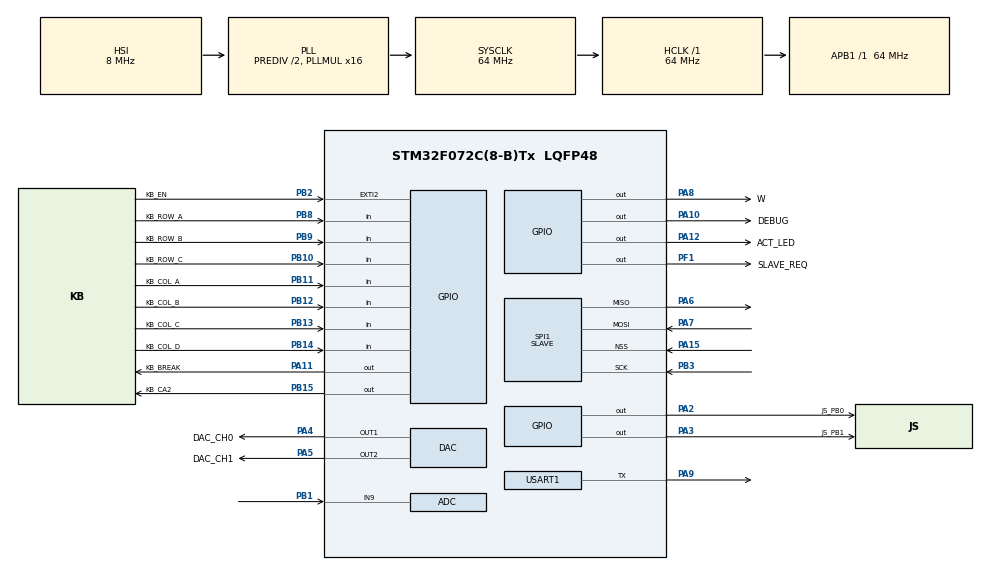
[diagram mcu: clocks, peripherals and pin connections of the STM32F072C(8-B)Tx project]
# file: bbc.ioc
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ADC.ClockPrescaler=ADC_CLOCK_ASYNC_DIV1
ADC.ContinuousConvMode=DISABLE
ADC.DMAContinuousRequests=DISABLE
ADC.DataAlign=ADC_DATAALIGN_RIGHT
ADC.DiscontinuousConvMode=DISABLE
ADC.EOCSelection=ADC_EOC_SINGLE_CONV
ADC.EnableAnalogWatchDog=false
ADC.ExternalTrigConv=ADC_SOFTWARE_START
ADC.ExternalTrigConvEdge=ADC_EXTERNALTRIGCONVEDGE_NONE
ADC.LowPowerAutoPowerOff=DISABLE
ADC.LowPowerAutoWait=DISABLE
ADC.Overrun=ADC_OVR_DATA_PRESERVED
ADC.Resolution=ADC_RESOLUTION_12B
ADC.SamplingTime=ADC_SAMPLETIME_71CYCLES_5
ADC.ScanConvMode=ADC_SCAN_DIRECTION_FORWARD
Mcu.Family=STM32F0
Mcu.Name=STM32F072C(8-B)Tx
Mcu.Package=LQFP48
NVIC.EXTI2_3_IRQn=true\:1\:0\:true\:false\:true\:true
NVIC.SPI1_IRQn=true\:0\:0\:true\:false\:true\:true
PA10.GPIO_Label=DEBUG
PA10.Signal=GPIO_Output
PA11.GPIO_Label=KB_BREAK
PA11.GPIO_ModeDefaultOutputPP=GPIO_MODE_OUTPUT_OD
PA11.PinState=GPIO_PIN_SET
PA11.Signal=GPIO_Output
PA12.GPIO_Label=ACT_LED
PA12.Signal=GPIO_Output
PA13.Mode=Serial_Wire
PA13.Signal=SYS_SWDIO
PA14.Mode=Serial_Wire
PA14.Signal=SYS_SWCLK
PA15.Mode=NSS_Signal_Hard_Input
PA15.Signal=SPI1_NSS
PA2.GPIO_Label=JS_PB0
PA2.GPIO_ModeDefaultOutputPP=GPIO_MODE_OUTPUT_OD
PA2.PinState=GPIO_PIN_SET
PA2.Signal=GPIO_Output
PA3.GPIO_Label=JS_PB1
PA3.GPIO_ModeDefaultOutputPP=GPIO_MODE_OUTPUT_OD
PA3.PinState=GPIO_PIN_SET
PA3.Signal=GPIO_Output
PA4.GPIO_Label=DAC_CH0
PA4.Signal=COMP_DAC1_group
PA5.GPIO_Label=DAC_CH1
PA5.Signal=COMP_DAC2_group
PA6.Mode=Full_Duplex_Slave
PA6.Signal=SPI1_MISO
PA7.Mode=Full_Duplex_Slave
PA7.Signal=SPI1_MOSI
PA8.GPIO_Label=W
PA8.GPIO_ModeDefaultOutputPP=GPIO_MODE_OUTPUT_OD
PA8.PinState=GPIO_PIN_SET
PA8.Signal=GPIO_Output
PA9.Mode=Half_duplex(single_wire_mode)
PA9.Signal=USART1_TX
PB1.Mode=IN9
PB1.Signal=ADC_IN9
PB10.GPIO_Label=KB_ROW_C
PB10.Signal=GPIO_Input
PB11.GPIO_Label=KB_COL_A
PB11.Signal=GPIO_Input
PB12.GPIO_Label=KB_COL_B
PB12.Signal=GPIO_Input
PB13.GPIO_Label=KB_COL_C
PB13.Signal=GPIO_Input
PB14.GPIO_Label=KB_COL_D
PB14.Signal=GPIO_Input
PB15.GPIO_Label=KB_CA2
PB15.GPIO_ModeDefaultOutputPP=GPIO_MODE_OUTPUT_OD
PB15.Signal=GPIO_Output
PB2.GPIO_Label=KB_EN
PB2.GPIO_ModeDefaultEXTI=GPIO_MODE_IT_FALLING
PB2.Signal=GPXTI2
PB3.Mode=Full_Duplex_Slave
PB3.Signal=SPI1_SCK
PB8.GPIO_Label=KB_ROW_A
PB8.Signal=GPIO_Input
PB9.GPIO_Label=KB_ROW_B
PB9.Signal=GPIO_Input
PF1-OSC_OUT.GPIO_Label=SLAVE_REQ
PF1-OSC_OUT.PinState=GPIO_PIN_RESET
PF1-OSC_OUT.Signal=GPIO_Output
ProjectManager.HeapSize=0x200
ProjectManager.StackSize=0x400
ProjectManager.TargetToolchain=MDK-ARM V5
RCC.AHBFreq_Value=64000000
RCC.APB1Freq_Value=64000000
RCC.APB1TimFreq_Value=64000000
RCC.HCLKFreq_Value=64000000
RCC.I2c1ClockSelection=RCC_I2C1CLKSOURCE_SYSCLK
RCC.PLLDivider=RCC_PREDIV_DIV2
RCC.PLLMUL=RCC_PLL_MUL16
RCC.SYSCLKFreq_VALUE=64000000
RCC.SYSCLKSource=RCC_SYSCLKSOURCE_PLLCLK
RCC.Usart1ClockSelection=RCC_USART1CLKSOURCE_SYSCLK
SH.COMP_DAC1_group.0=DAC_OUT1,DAC_OUT1
SH.COMP_DAC2_group.0=DAC_OUT2,DAC_OUT2
SPI1.DataSize=SPI_DATASIZE_8BIT
SPI1.Direction=SPI_DIRECTION_2LINES
SPI1.Mode=SPI_MODE_SLAVE
SPI1.VirtualNSS=VM_NSSHARD
SPI1.VirtualType=VM_SLAVE
TIM2.Period=4294967295
TIM2.Prescaler=63
USART1.BaudRate=115200
USART1.Mode=MODE_TX
USART1.VirtualMode-Half_duplex(single_wire_mode)=VM_ASYNC
VP_ADC_Vref_Input.Mode=IN-Vrefint
VP_TIM2_VS_ClockSourceINT.Mode=Internal
board=custom

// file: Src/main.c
/**
  ******************************************************************************
  * @file           : main.c
  * @brief          : Main program body
  ******************************************************************************
  ** This notice applies to any and all portions of this file
  * that are not between comment pairs USER CODE BEGIN and
  * USER CODE END. Other portions of this file, whether
  * inserted by the user or by software development tools
  * are owned by their respective copyright owners.
  *
  * COPYRIGHT(c) 2022 STMicroelectronics
  *
  * Redistribution and use in source and binary forms, with or without modification,
  * are permitted provided that the following conditions are met:
  *   1. Redistributions of source code must retain the above copyright notice,
  *      this list of conditions and the following disclaimer.
  *   2. Redistributions in binary form must reproduce the above copyright notice,
  *      this list of conditions and the following disclaimer in the documentation
  *      and/or other materials provided with the distribution.
  *   3. Neither the name of STMicroelectronics nor the names of its contributors
  *      may be used to endorse or promote products derived from this software
  *      without specific prior written permission.
  *
  * THIS SOFTWARE IS PROVIDED BY THE COPYRIGHT HOLDERS AND CONTRIBUTORS "AS IS"
  * AND ANY EXPRESS OR IMPLIED WARRANTIES, INCLUDING, BUT NOT LIMITED TO, THE
  * IMPLIED WARRANTIES OF MERCHANTABILITY AND FITNESS FOR A PARTICULAR PURPOSE ARE
  * DISCLAIMED. IN NO EVENT SHALL THE COPYRIGHT HOLDER OR CONTRIBUTORS BE LIABLE
  * FOR ANY DIRECT, INDIRECT, INCIDENTAL, SPECIAL, EXEMPLARY, OR CONSEQUENTIAL
  * DAMAGES (INCLUDING, BUT NOT LIMITED TO, PROCUREMENT OF SUBSTITUTE GOODS OR
  * SERVICES; LOSS OF USE, DATA, OR PROFITS; OR BUSINESS INTERRUPTION) HOWEVER
  * CAUSED AND ON ANY THEORY OF LIABILITY, WHETHER IN CONTRACT, STRICT LIABILITY,
  * OR TORT (INCLUDING NEGLIGENCE OR OTHERWISE) ARISING IN ANY WAY OUT OF THE USE
  * OF THIS SOFTWARE, EVEN IF ADVISED OF THE POSSIBILITY OF SUCH DAMAGE.
  *
  ******************************************************************************
  */
#include "main.h"
#include "stm32f0xx_hal.h"

/* USER CODE BEGIN Includes */
#include "delay_us.h"
#include "shared.h"
#include "helpers.h"
#include <string.h>

/* USER CODE END Includes */

ADC_HandleTypeDef hadc;

DAC_HandleTypeDef hdac;

SPI_HandleTypeDef hspi1;

TIM_HandleTypeDef htim2;

UART_HandleTypeDef huart1;

/* USER CODE BEGIN PV */
/* Private variables ---------------------------------------------------------*/
const uint8_t board_id = 4;
const uint8_t version_major = 0;
const uint8_t version_minor = 0;
const uint8_t version_patch = 1;
const char boot_message[] = "USB4VC Protocol Board\nBBC Micro/Master\ndekuNukem 2022";

uint8_t spi_transmit_buf[SPI_BUF_SIZE];
uint8_t backup_spi1_recv_buf[SPI_BUF_SIZE];
uint8_t spi_recv_buf[SPI_BUF_SIZE];
kb_buf my_kb_buf;
mouse_buf my_mouse_buf;
gamepad_buf my_gamepad_buf;
uint8_t spi_error_occured;
uint8_t buffered_code, buffered_value;
gamepad_event latest_gamepad_event;

/* USER CODE END PV */

void SystemClock_Config(void);
static void MX_GPIO_Init(void);
static void MX_SPI1_Init(void);
static void MX_TIM2_Init(void);
static void MX_DAC_Init(void);
static void MX_ADC_Init(void);
static void MX_USART1_UART_Init(void);

/* USER CODE BEGIN PFP */
/* Private function prototypes -----------------------------------------------*/

/* USER CODE END PFP */

/* USER CODE BEGIN 0 */

uint32_t act_led_timestamp;

/*
  This is called when a new SPI packet is received
  This is part of an ISR, so keep it short!
*/
void HAL_SPI_TxRxCpltCallback(SPI_HandleTypeDef *hspi)
{
  HAL_GPIO_WritePin(ACT_LED_GPIO_Port, ACT_LED_Pin, GPIO_PIN_SET);
  act_led_timestamp = micros();
  memcpy(backup_spi1_recv_buf, spi_recv_buf, SPI_BUF_SIZE);
  if(backup_spi1_recv_buf[0] != 0xde)
  {
    spi_error_occured = 1;
  }
  else if(backup_spi1_recv_buf[SPI_BUF_INDEX_MSG_TYPE] == SPI_MOSI_MSG_TYPE_KEYBOARD_EVENT && backup_spi1_recv_buf[6] <= 1)
  {
    kb_buf_add(&my_kb_buf, backup_spi1_recv_buf[4], backup_spi1_recv_buf[6]);
  }
  else if(backup_spi1_recv_buf[SPI_BUF_INDEX_MSG_TYPE] == SPI_MOSI_MSG_TYPE_GAMEPAD_EVENT_RAW_SUPPORTED)
  {
    latest_gamepad_event.button_1 = (backup_spi1_recv_buf[8] & 0x1) != 0;
    latest_gamepad_event.button_2 = (backup_spi1_recv_buf[8] & 0x2) != 0;
    latest_gamepad_event.button_3 = (backup_spi1_recv_buf[8] & 0x4) != 0;
    latest_gamepad_event.button_4 = (backup_spi1_recv_buf[8] & 0x8) != 0;
    latest_gamepad_event.axis_x = backup_spi1_recv_buf[10];
    latest_gamepad_event.axis_y = backup_spi1_recv_buf[11];
    latest_gamepad_event.axis_rx = backup_spi1_recv_buf[12];
    latest_gamepad_event.axis_ry = backup_spi1_recv_buf[13];
    gamepad_buf_add(&my_gamepad_buf, &latest_gamepad_event);
  }
  else if(backup_spi1_recv_buf[SPI_BUF_INDEX_MSG_TYPE] == SPI_MOSI_MSG_TYPE_INFO_REQUEST)
  {
    memset(spi_transmit_buf, 0, SPI_BUF_SIZE);
    spi_transmit_buf[SPI_BUF_INDEX_MAGIC] = SPI_MISO_MAGIC;
    spi_transmit_buf[SPI_BUF_INDEX_MSG_TYPE] = SPI_MISO_MSG_TYPE_INFO_REQUEST;
    spi_transmit_buf[3] = board_id;
    // spi_transmit_buf[4] = hw_revision;
    spi_transmit_buf[5] = version_major;
    spi_transmit_buf[6] = version_minor;
    spi_transmit_buf[7] = version_patch;
    // uint8_t curr_index = 8;
    // for (int i = 0; i < PROTOCOL_LOOKUP_SIZE; i++)
    // {
    //   if(protocol_status_lookup[i] == PROTOCOL_STATUS_NOT_AVAILABLE)
    //     continue;
    //   else if(protocol_status_lookup[i] == PROTOCOL_STATUS_DISABLED)
    //     spi_transmit_buf[curr_index] = i;
    //   else if(protocol_status_lookup[i] == PROTOCOL_STATUS_ENABLED)
    //     spi_transmit_buf[curr_index] = i | 0x80;
    //   curr_index++;
    // }
  }
  HAL_SPI_TransmitReceive_IT(&hspi1, spi_transmit_buf, spi_recv_buf, SPI_BUF_SIZE);
}

int fputc(int ch, FILE *f)
{
  HAL_UART_Transmit(&huart1, (unsigned char *)&ch, 1, 100);
  return ch;
}

#define DEBUG_HI() (GPIOA->BSRR = 0x00000400)
#define DEBUG_LOW() (GPIOA->BSRR = 0x04000000)

#define DEBUG2_HI() (GPIOA->BSRR = 0x00000200)
#define DEBUG2_LOW() (GPIOA->BSRR = 0x02000000)

#define CA2_HI() (GPIOB->BSRR = 0x00008000)
#define CA2_LOW() (GPIOB->BSRR = 0x80000000)
#define W_HI() (GPIOA->BSRR = 0x00000100)
#define W_LOW() (GPIOA->BSRR = 0x01000000)
#define IS_KB_EN_HI() (GPIOB->IDR & 0x4)

#define COL_SIZE 16
#define ROW_SIZE 8
uint8_t col_status[COL_SIZE];
uint8_t matrix_status[COL_SIZE][ROW_SIZE];

uint8_t has_active_keys(void)
{
  for(int i = 0; i < COL_SIZE; ++i)
    if(col_status[i])
      return 1;
  return 0;
}

uint32_t last_ca2;

#define CODE_UNUSED 0xff
// top 4 bits column, lower 4 bits row
#define LINUX_KEYCODE_TO_BBC_SIZE 128
const uint8_t linux_keycode_to_bbc_matrix_lookup[LINUX_KEYCODE_TO_BBC_SIZE] =
{
  CODE_UNUSED, // KEY_RESERVED    0
  0x07, // KEY_ESC    1
  0x03, // KEY_1    2
  0x13, // KEY_2    3
  0x11, // KEY_3    4
  0x21, // KEY_4    5
  0x31, // KEY_5    6
  0x43, // KEY_6    7
  0x42, // KEY_7    8
  0x51, // KEY_8    9
  0x62, // KEY_9    10
  0x72, // KEY_0    11
  0x71, // KEY_MINUS    12
  CODE_UNUSED, // KEY_EQUAL    13
  0x95, // KEY_BACKSPACE    14
  0x06, // KEY_TAB    15
  0x01, // KEY_Q    16
  0x12, // KEY_W    17
  0x22, // KEY_E    18
  0x33, // KEY_R    19
  0x32, // KEY_T    20
  0x44, // KEY_Y    21
  0x53, // KEY_U    22
  0x52, // KEY_I    23
  0x63, // KEY_O    24
  0x73, // KEY_P    25
  0x83, // KEY_LEFTBRACE    26
  0x85, // KEY_RIGHTBRACE    27
  0x94, // KEY_ENTER    28
  0x10, // KEY_LEFTCTRL    29
  0x14, // KEY_A    30
  0x15, // KEY_S    31
  0x23, // KEY_D    32
  0x34, // KEY_F    33
  0x35, // KEY_G    34
  0x45, // KEY_H    35
  0x54, // KEY_J    36
  0x64, // KEY_K    37
  0x65, // KEY_L    38
  0X75, // KEY_SEMICOLON    39
  CODE_UNUSED, // KEY_APOSTROPHE    40
  CODE_UNUSED, // KEY_GRAVE    41
  0x00, // KEY_LEFTSHIFT    42
  0x87, // KEY_BACKSLASH    43
  0x16, // KEY_Z    44
  0x24, // KEY_X    45
  0x25, // KEY_C    46
  0x36, // KEY_V    47
  0x46, // KEY_B    48
  0x55, // KEY_N    49
  0x56, // KEY_M    50
  0x66, // KEY_COMMA    51
  0x76, // KEY_DOT    52
  0x86, // KEY_SLASH    53
  0x00, // KEY_RIGHTSHIFT    54
  CODE_UNUSED, // KEY_KPASTERISK    55
  CODE_UNUSED, // KEY_LEFTALT    56
  0x26, // KEY_SPACE    57
  0x04, // KEY_CAPSLOCK    58
  0x17, // KEY_F1    59
  0x27, // KEY_F2    60
  0x37, // KEY_F3    61
  0x41, // KEY_F4    62
  0x47, // KEY_F5    63
  0x57, // KEY_F6    64
  0x61, // KEY_F7    65
  0x67, // KEY_F8    66
  0x77, // KEY_F9    67
  0x02, // KEY_F10    68
  CODE_UNUSED, // KEY_NUMLOCK    69
  CODE_UNUSED, // KEY_SCROLLLOCK    70
  CODE_UNUSED, // KEY_KP7    71
  CODE_UNUSED, // KEY_KP8    72
  CODE_UNUSED, // KEY_KP9    73
  CODE_UNUSED, // KEY_KPMINUS    74
  CODE_UNUSED, // KEY_KP4    75
  CODE_UNUSED, // KEY_KP5    76
  CODE_UNUSED, // KEY_KP6    77
  CODE_UNUSED, // KEY_KPPLUS    78
  CODE_UNUSED, // KEY_KP1    79
  CODE_UNUSED, // KEY_KP2    80
  CODE_UNUSED, // KEY_KP3    81
  CODE_UNUSED, // KEY_KP0    82
  CODE_UNUSED, // KEY_KPDOT    83
  CODE_UNUSED, // KEY_UNUSED    84
  CODE_UNUSED, // KEY_ZENKAKUHANKAKU    85
  0x87, // KEY_102ND    86
  CODE_UNUSED, // KEY_F11    87
  CODE_UNUSED, // KEY_F12    88
  CODE_UNUSED, // KEY_RO    89
  CODE_UNUSED, // KEY_KATAKANA    90
  CODE_UNUSED, // KEY_HIRAGANA    91
  CODE_UNUSED, // KEY_HENKAN    92
  CODE_UNUSED, // KEY_KATAKANAHIRAGANA    93
  CODE_UNUSED, // KEY_MUHENKAN    94
  CODE_UNUSED, // KEY_KPJPCOMMA    95
  CODE_UNUSED, // KEY_KPENTER    96
  0x96, // KEY_RIGHTCTRL    97
  CODE_UNUSED, // KEY_KPSLASH    98
  CODE_UNUSED, // KEY_SYSRQ    99
  CODE_UNUSED, // KEY_RIGHTALT    100
  CODE_UNUSED, // KEY_LINEFEED    101
  CODE_UNUSED, // KEY_HOME    102
  0x93, // KEY_UP    103
  CODE_UNUSED, // KEY_PAGEUP    104
  0x91, // KEY_LEFT    105
  0x97, // KEY_RIGHT    106
  CODE_UNUSED, // KEY_END    107
  0x92, // KEY_DOWN    108
  CODE_UNUSED, // KEY_PAGEDOWN    109
  CODE_UNUSED, // KEY_INSERT    110
  0x95, // KEY_DELETE    111
  CODE_UNUSED, // KEY_MACRO    112
  CODE_UNUSED, // KEY_MUTE    113
  CODE_UNUSED, // KEY_VOLUMEDOWN    114
  CODE_UNUSED, // KEY_VOLUMEUP    115
  CODE_UNUSED, // KEY_POWER    116
  CODE_UNUSED, // KEY_KPEQUAL    117
  CODE_UNUSED, // KEY_KPPLUSMINUS    118
  CODE_UNUSED, // KEY_PAUSE    119
  CODE_UNUSED, // KEY_SCALE    120
  CODE_UNUSED, // KEY_KPCOMMA    121
  CODE_UNUSED, // KEY_HANGEUL    122
  CODE_UNUSED, // KEY_HANJA    123
  CODE_UNUSED, // KEY_YEN    124
  CODE_UNUSED, // KEY_LEFTMETA    125
  CODE_UNUSED, // KEY_RIGHTMETA    126
  CODE_UNUSED, // KEY_COMPOSE    127
};

#define BBC_SHIFT_OFF 0
#define BBC_SHIFT_ON 1

#define KEY_2     3
#define KEY_3     4
#define KEY_6     7
#define KEY_7     8
#define KEY_8     9
#define KEY_9     10
#define KEY_0     11
#define KEY_MINUS 12
#define KEY_GRAVE   41
#define KEY_EQUAL   13
#define KEY_SEMICOLON   39
#define KEY_APOSTROPHE    40
#define KEY_SYSRQ   99
#define KEY_RIGHTALT    100
#define KEY_BACKSLASH   43

#define PC_KB_TYPE_ANSI_US 0
#define PC_KB_TYPE_ISO_UK 1

uint8_t pc_kb_type = PC_KB_TYPE_ISO_UK;

uint8_t get_bbc_code(uint8_t linux_code, uint8_t is_shift, uint8_t* bbc_col, uint8_t* bbc_row, uint8_t *bbc_shift)
{
  *bbc_col = 0;
  *bbc_row = 0;
  *bbc_shift = BBC_SHIFT_OFF;

  if(linux_code >= LINUX_KEYCODE_TO_BBC_SIZE)
    return 1;
  if(linux_keycode_to_bbc_matrix_lookup[linux_code] == CODE_UNUSED)
    return 2;
  *bbc_col = linux_keycode_to_bbc_matrix_lookup[linux_code] >> 4;
  *bbc_row = linux_keycode_to_bbc_matrix_lookup[linux_code] & 0xf;
  if(*bbc_col >= COL_SIZE)
    *bbc_col = 0;
  if(*bbc_row >= ROW_SIZE)
    *bbc_row = 0;

  if(linux_code == KEY_2 && is_shift && pc_kb_type == PC_KB_TYPE_ANSI_US)
  {
    *bbc_col = 7;
    *bbc_row = 4;
    *bbc_shift = BBC_SHIFT_OFF;
  }
  else if(linux_code == KEY_3 && is_shift && pc_kb_type == PC_KB_TYPE_ISO_UK)
  {
    *bbc_col = 8;
    *bbc_row = 2;
    *bbc_shift = BBC_SHIFT_ON;
  }
  else if(linux_code == KEY_6 && is_shift)
  {
    *bbc_col = 8;
    *bbc_row = 1;
    *bbc_shift = BBC_SHIFT_OFF;
  }
  else if(linux_code == KEY_GRAVE && is_shift)
  {
    *bbc_col = 8;
    *bbc_row = 1;
    *bbc_shift = BBC_SHIFT_ON;
  }
  else if(linux_code == KEY_7 && is_shift)
  {
    *bbc_col = 4;
    *bbc_row = 3;
    *bbc_shift = BBC_SHIFT_ON;
  }
  else if(linux_code == KEY_8 && is_shift)
  {
    *bbc_col = 8;
    *bbc_row = 4;
    *bbc_shift = BBC_SHIFT_ON;
  }
  else if(linux_code == KEY_8 && is_shift)
  {
    *bbc_col = 8;
    *bbc_row = 4;
    *bbc_shift = BBC_SHIFT_ON;
  }
  else if(linux_code == KEY_9 && is_shift)
  {
    *bbc_col = 5;
    *bbc_row = 1;
    *bbc_shift = BBC_SHIFT_ON;
  }
  else if(linux_code == KEY_0 && is_shift)
  {
    *bbc_col = 6;
    *bbc_row = 2;
    *bbc_shift = BBC_SHIFT_ON;
  }
  else if(linux_code == KEY_MINUS && is_shift)
  {
    *bbc_col = 8;
    *bbc_row = 2;
    *bbc_shift = BBC_SHIFT_OFF;
  }
  else if(linux_code == KEY_EQUAL && is_shift)
  {
    *bbc_col = 7;
    *bbc_row = 5;
    *bbc_shift = BBC_SHIFT_ON;
  }
  else if(linux_code == KEY_EQUAL && (is_shift == 0))
  {
    *bbc_col = 7;
    *bbc_row = 1;
    *bbc_shift = BBC_SHIFT_ON;
  }
  else if(linux_code == KEY_SEMICOLON && is_shift)
  {
    *bbc_col = 8;
    *bbc_row = 4;
    *bbc_shift = BBC_SHIFT_OFF;
  }
  else if(linux_code == KEY_APOSTROPHE && is_shift && pc_kb_type == PC_KB_TYPE_ANSI_US)
  {
    *bbc_col = 1;
    *bbc_row = 3;
    *bbc_shift = BBC_SHIFT_ON;
  }
  else if(linux_code == KEY_APOSTROPHE && is_shift && pc_kb_type == PC_KB_TYPE_ISO_UK)
  {
    *bbc_col = 7;
    *bbc_row = 4;
    *bbc_shift = BBC_SHIFT_OFF;
  }
  else if(linux_code == KEY_BACKSLASH && is_shift && pc_kb_type == PC_KB_TYPE_ISO_UK)
  {
    *bbc_col = 8;
    *bbc_row = 1;
    *bbc_shift = BBC_SHIFT_ON;
  }
  else if(linux_code == KEY_BACKSLASH && (is_shift == 0) && pc_kb_type == PC_KB_TYPE_ISO_UK)
  {
    *bbc_col = 1;
    *bbc_row = 1;
    *bbc_shift = BBC_SHIFT_ON;
  }
  return 0;
}

// falling edge, KB_EN is low
// this ISR has to be as fast as possible to beat the clock
void HAL_GPIO_EXTI_Callback(uint16_t GPIO_Pin)
{
  CA2_LOW();
  while(1)
  {
    uint32_t kb_data = (GPIOB->IDR >> 8) & 0x7f;
    uint8_t kb_row = kb_data & 0x7;
    uint8_t kb_col = (kb_data >> 3) & 0xf;

    if(col_status[kb_col])
    {
      CA2_HI();
      if(matrix_status[kb_col][kb_row])
        W_HI();
      else
        W_LOW();
    }
    else
    {
      CA2_LOW();
      W_LOW();
    }
    if(IS_KB_EN_HI())
      break;
  }
  CA2_LOW();
  W_HI();
}

void col_status_update(uint8_t this_col)
{
  if(this_col >= COL_SIZE)
    return;
  uint8_t is_this_col_active = 0;
  for(uint8_t i = 0; i < ROW_SIZE; i++)
    if(matrix_status[this_col][i])
      is_this_col_active = 1;
  col_status[this_col] = is_this_col_active;
}

#define KEY_LEFTSHIFT   42
#define KEY_RIGHTSHIFT    54

uint8_t is_left_shift_on, is_right_shift_on, is_shift_on;

// 255 = 1.8V, 127 = 0.9V, 0 = 0V
const uint16_t dac_lookup[256] = {0, 8, 17, 26, 35, 43, 52, 61, 70, 78, 87, 96, 105, 113, 122, 131, 140, 148, 157, 166, 175, 183, 192, 201, 210, 219, 227, 236, 245, 254, 262, 271, 280, 289, 297, 306, 315, 324, 332, 341, 350, 359, 367, 376, 385, 394, 402, 411, 420, 429, 438, 446, 455, 464, 473, 481, 490, 499, 508, 516, 525, 534, 543, 551, 560, 569, 578, 586, 595, 604, 613, 622, 630, 639, 648, 657, 665, 674, 683, 692, 700, 709, 718, 727, 735, 744, 753, 762, 770, 779, 788, 797, 805, 814, 823, 832, 841, 849, 858, 867, 876, 884, 893, 902, 911, 919, 928, 937, 946, 954, 963, 972, 981, 989, 998, 1007, 1016, 1025, 1033, 1042, 1051, 1060, 1068, 1077, 1086, 1095, 1103, 1112, 1121, 1130, 1138, 1147, 1156, 1165, 1173, 1182, 1191, 1200, 1208, 1217, 1226, 1235, 1244, 1252, 1261, 1270, 1279, 1287, 1296, 1305, 1314, 1322, 1331, 1340, 1349, 1357, 1366, 1375, 1384, 1392, 1401, 1410, 1419, 1428, 1436, 1445, 1454, 1463, 1471, 1480, 1489, 1498, 1506, 1515, 1524, 1533, 1541, 1550, 1559, 1568, 1576, 1585, 1594, 1603, 1611, 1620, 1629, 1638, 1647, 1655, 1664, 1673, 1682, 1690, 1699, 1708, 1717, 1725, 1734, 1743, 1752, 1760, 1769, 1778, 1787, 1795, 1804, 1813, 1822, 1831, 1839, 1848, 1857, 1866, 1874, 1883, 1892, 1901, 1909, 1918, 1927, 1936, 1944, 1953, 1962, 1971, 1979, 1988, 1997, 2006, 2014, 2023, 2032, 2041, 2050, 2058, 2067, 2076, 2085, 2093, 2102, 2111, 2120, 2128, 2137, 2146, 2155, 2163, 2172, 2181, 2190, 2198, 2207, 2216, 2225, 2234};

/*
uint16_t bbc_ref, stm32_intref;
  while(1)
  {
    HAL_ADC_Start(&hadc);
    HAL_ADC_PollForConversion(&hadc, 1);
    bbc_ref = HAL_ADC_GetValue(&hadc);
    HAL_ADC_PollForConversion(&hadc, 1);
    stm32_intref = HAL_ADC_GetValue(&hadc);
    HAL_ADC_Stop(&hadc);
    HAL_Delay(100);

    double eight_bit_step = (double)bbc_ref / 256;

    printf("%d %d %f\n", bbc_ref, stm32_intref, eight_bit_step * 128);

  }
*/

void gamepad_update(void)
{
  uint16_t bbc_ref, stm32_intref;
  gamepad_event* this_gamepad_event = gamepad_buf_peek(&my_gamepad_buf);
  if(this_gamepad_event != NULL)
  {
    HAL_ADC_Start(&hadc);
    HAL_ADC_PollForConversion(&hadc, 1);
    bbc_ref = HAL_ADC_GetValue(&hadc);
    HAL_ADC_PollForConversion(&hadc, 1);
    stm32_intref = HAL_ADC_GetValue(&hadc);
    HAL_ADC_Stop(&hadc);
    double eight_bit_step = (double)bbc_ref / 256;
    HAL_GPIO_WritePin(JS_PB0_GPIO_Port, JS_PB0_Pin, !(this_gamepad_event->button_1));
    HAL_GPIO_WritePin(JS_PB1_GPIO_Port, JS_PB1_Pin, !(this_gamepad_event->button_2));
    HAL_DAC_SetValue(&hdac, DAC_CHANNEL_1, DAC_ALIGN_12B_R, (uint16_t)(eight_bit_step * this_gamepad_event->axis_x));
    HAL_DAC_SetValue(&hdac, DAC_CHANNEL_2, DAC_ALIGN_12B_R, (uint16_t)(eight_bit_step * this_gamepad_event->axis_y));
    gamepad_buf_pop(&my_gamepad_buf);
  }
}

/* USER CODE END 0 */

int main(void)
{

  /* MCU Configuration----------------------------------------------------------*/

  /* Reset of all peripherals, Initializes the Flash interface and the Systick. */
  HAL_Init();

  /* Configure the system clock */
  SystemClock_Config();

  /* Initialize all configured peripherals */
  MX_GPIO_Init();
  MX_SPI1_Init();
  MX_TIM2_Init();
  MX_DAC_Init();
  MX_ADC_Init();
  MX_USART1_UART_Init();
  /* USER CODE BEGIN 2 */

  kb_buf_init(&my_kb_buf);
  gamepad_buf_init(&my_gamepad_buf);
  delay_us_init(&htim2);

  /* USER CODE END 2 */

  /* Infinite loop */
  /* USER CODE BEGIN WHILE */

  printf("%s\nv%d.%d.%d\n", boot_message, version_major, version_minor, version_patch);

  CA2_LOW();
  W_HI();

  memset(spi_transmit_buf, 0, SPI_BUF_SIZE);
  HAL_SPI_TransmitReceive_IT(&hspi1, spi_transmit_buf, spi_recv_buf, SPI_BUF_SIZE);

  uint8_t this_col, this_row, this_shift;
  memset(matrix_status, 0, COL_SIZE * ROW_SIZE);
  memset(col_status, 0, COL_SIZE);
  /*
  the IC3 is a BCD decoder that takes 3 bits input and select one of the 10 lines
  the output ACTIVE LOW, meaning selected line is LOW while others are high

  the CA2 line becomes active when BBC micro manually scans the

  once BBC micro receives a keyboard interrupt, it will start manually scanning the keyboard
  starting with column from 9 to 0, when the column with the pressed key is selected,
  the CA2 line will go low, indicating the active column.

  once column is known, bbc will then start scanning rows

  read_duration valid above 0x400

  */
  HAL_DAC_Start(&hdac, DAC_CHANNEL_1);
  HAL_DAC_Start(&hdac, DAC_CHANNEL_2);

  while (1)
  {
    uint32_t micros_now = micros();
    if(micros_now - act_led_timestamp > 10000)
      HAL_GPIO_WritePin(ACT_LED_GPIO_Port, ACT_LED_Pin, GPIO_PIN_RESET);

    if(kb_buf_peek(&my_kb_buf, &buffered_code, &buffered_value) == 0)
    {
      if(buffered_code == KEY_RIGHTALT) // break key
      {
        if(buffered_value)
          HAL_GPIO_WritePin(KB_BREAK_GPIO_Port, KB_BREAK_Pin, GPIO_PIN_RESET);
        else
          HAL_GPIO_WritePin(KB_BREAK_GPIO_Port, KB_BREAK_Pin, GPIO_PIN_SET);
        kb_buf_pop(&my_kb_buf);
        continue;
      }
      if(buffered_code == KEY_LEFTSHIFT)
          is_left_shift_on = buffered_value;
      if(buffered_code == KEY_RIGHTSHIFT)
          is_right_shift_on = buffered_value;
      is_shift_on = is_right_shift_on | is_left_shift_on;
      if(get_bbc_code(buffered_code, is_shift_on, &this_col, &this_row, &this_shift)) // unmapped key
      {
        kb_buf_pop(&my_kb_buf);
        continue;
      }
      if(buffered_value)
      {
        if(this_shift == BBC_SHIFT_OFF)
        {
          matrix_status[0][0] = 0;
          col_status_update(0);
        }
        if(this_shift == BBC_SHIFT_ON)
        {
          matrix_status[0][0] = 1;
          col_status[0] = 1;
        }
        col_status[this_col] = 1;
        matrix_status[this_col][this_row] = 1;
        kb_buf_pop(&my_kb_buf);
      }
      else if(buffered_value == 0)
      {
        matrix_status[this_col][this_row] = 0;
        col_status_update(this_col);
        if(buffered_code == KEY_LEFTSHIFT || buffered_code == KEY_RIGHTSHIFT)
        {
          memset(matrix_status, 0, COL_SIZE * ROW_SIZE);
          memset(col_status, 0, COL_SIZE);
        }
        kb_buf_pop(&my_kb_buf);
        delay_us(10000);
      }
    }
  /* USER CODE END WHILE */

  /* USER CODE BEGIN 3 */
    if(is_right_shift_on | is_left_shift_on)
      DEBUG_HI();
    else
      DEBUG_LOW();

    if(has_active_keys() && micros_now - last_ca2 > 20)
    {
      CA2_HI();
      delay_us(1);
      CA2_LOW();
      last_ca2 = micros_now;
    }
    // gamepad_update();
  }
  /* USER CODE END 3 */

}

void SystemClock_Config(void)
{

  RCC_OscInitTypeDef RCC_OscInitStruct;
  RCC_ClkInitTypeDef RCC_ClkInitStruct;
  RCC_PeriphCLKInitTypeDef PeriphClkInit;

    /**Initializes the CPU, AHB and APB busses clocks
    */
  RCC_OscInitStruct.OscillatorType = RCC_OSCILLATORTYPE_HSI|RCC_OSCILLATORTYPE_HSI14;
  RCC_OscInitStruct.HSIState = RCC_HSI_ON;
  RCC_OscInitStruct.HSI14State = RCC_HSI14_ON;
  RCC_OscInitStruct.HSICalibrationValue = 16;
  RCC_OscInitStruct.HSI14CalibrationValue = 16;
  RCC_OscInitStruct.PLL.PLLState = RCC_PLL_ON;
  RCC_OscInitStruct.PLL.PLLSource = RCC_PLLSOURCE_HSI;
  RCC_OscInitStruct.PLL.PLLMUL = RCC_PLL_MUL16;
  RCC_OscInitStruct.PLL.PREDIV = RCC_PREDIV_DIV2;
  if (HAL_RCC_OscConfig(&RCC_OscInitStruct) != HAL_OK)
  {
    _Error_Handler(__FILE__, __LINE__);
  }

    /**Initializes the CPU, AHB and APB busses clocks
    */
  RCC_ClkInitStruct.ClockType = RCC_CLOCKTYPE_HCLK|RCC_CLOCKTYPE_SYSCLK
                              |RCC_CLOCKTYPE_PCLK1;
  RCC_ClkInitStruct.SYSCLKSource = RCC_SYSCLKSOURCE_PLLCLK;
  RCC_ClkInitStruct.AHBCLKDivider = RCC_SYSCLK_DIV1;
  RCC_ClkInitStruct.APB1CLKDivider = RCC_HCLK_DIV1;

  if (HAL_RCC_ClockConfig(&RCC_ClkInitStruct, FLASH_LATENCY_1) != HAL_OK)
  {
    _Error_Handler(__FILE__, __LINE__);
  }

  PeriphClkInit.PeriphClockSelection = RCC_PERIPHCLK_USART1;
  PeriphClkInit.Usart1ClockSelection = RCC_USART1CLKSOURCE_SYSCLK;
  if (HAL_RCCEx_PeriphCLKConfig(&PeriphClkInit) != HAL_OK)
  {
    _Error_Handler(__FILE__, __LINE__);
  }

    /**Configure the Systick interrupt time
    */
  HAL_SYSTICK_Config(HAL_RCC_GetHCLKFreq()/1000);

    /**Configure the Systick
    */
  HAL_SYSTICK_CLKSourceConfig(SYSTICK_CLKSOURCE_HCLK);

  /* SysTick_IRQn interrupt configuration */
  HAL_NVIC_SetPriority(SysTick_IRQn, 0, 0);
}

/* ADC init function */
static void MX_ADC_Init(void)
{

  ADC_ChannelConfTypeDef sConfig;

    /**Configure the global features of the ADC (Clock, Resolution, Data Alignment and number of conversion)
    */
  hadc.Instance = ADC1;
  hadc.Init.ClockPrescaler = ADC_CLOCK_ASYNC_DIV1;
  hadc.Init.Resolution = ADC_RESOLUTION_12B;
  hadc.Init.DataAlign = ADC_DATAALIGN_RIGHT;
  hadc.Init.ScanConvMode = ADC_SCAN_DIRECTION_FORWARD;
  hadc.Init.EOCSelection = ADC_EOC_SINGLE_CONV;
  hadc.Init.LowPowerAutoWait = DISABLE;
  hadc.Init.LowPowerAutoPowerOff = DISABLE;
  hadc.Init.ContinuousConvMode = DISABLE;
  hadc.Init.DiscontinuousConvMode = DISABLE;
  hadc.Init.ExternalTrigConv = ADC_SOFTWARE_START;
  hadc.Init.ExternalTrigConvEdge = ADC_EXTERNALTRIGCONVEDGE_NONE;
  hadc.Init.DMAContinuousRequests = DISABLE;
  hadc.Init.Overrun = ADC_OVR_DATA_PRESERVED;
  if (HAL_ADC_Init(&hadc) != HAL_OK)
  {
    _Error_Handler(__FILE__, __LINE__);
  }

    /**Configure for the selected ADC regular channel to be converted.
    */
  sConfig.Channel = ADC_CHANNEL_9;
  sConfig.Rank = ADC_RANK_CHANNEL_NUMBER;
  sConfig.SamplingTime = ADC_SAMPLETIME_71CYCLES_5;
  if (HAL_ADC_ConfigChannel(&hadc, &sConfig) != HAL_OK)
  {
    _Error_Handler(__FILE__, __LINE__);
  }

    /**Configure for the selected ADC regular channel to be converted.
    */
  sConfig.Channel = ADC_CHANNEL_VREFINT;
  if (HAL_ADC_ConfigChannel(&hadc, &sConfig) != HAL_OK)
  {
    _Error_Handler(__FILE__, __LINE__);
  }

}

/* DAC init function */
static void MX_DAC_Init(void)
{

  DAC_ChannelConfTypeDef sConfig;

    /**DAC Initialization
    */
  hdac.Instance = DAC;
  if (HAL_DAC_Init(&hdac) != HAL_OK)
  {
    _Error_Handler(__FILE__, __LINE__);
  }

    /**DAC channel OUT1 config
    */
  sConfig.DAC_Trigger = DAC_TRIGGER_NONE;
  sConfig.DAC_OutputBuffer = DAC_OUTPUTBUFFER_ENABLE;
  if (HAL_DAC_ConfigChannel(&hdac, &sConfig, DAC_CHANNEL_1) != HAL_OK)
  {
    _Error_Handler(__FILE__, __LINE__);
  }

    /**DAC channel OUT2 config
    */
  if (HAL_DAC_ConfigChannel(&hdac, &sConfig, DAC_CHANNEL_2) != HAL_OK)
  {
    _Error_Handler(__FILE__, __LINE__);
  }

}

/* SPI1 init function */
static void MX_SPI1_Init(void)
{

  /* SPI1 parameter configuration*/
  hspi1.Instance = SPI1;
  hspi1.Init.Mode = SPI_MODE_SLAVE;
  hspi1.Init.Direction = SPI_DIRECTION_2LINES;
  hspi1.Init.DataSize = SPI_DATASIZE_8BIT;
  hspi1.Init.CLKPolarity = SPI_POLARITY_LOW;
  hspi1.Init.CLKPhase = SPI_PHASE_1EDGE;
  hspi1.Init.NSS = SPI_NSS_HARD_INPUT;
  hspi1.Init.FirstBit = SPI_FIRSTBIT_MSB;
  hspi1.Init.TIMode = SPI_TIMODE_DISABLE;
  hspi1.Init.CRCCalculation = SPI_CRCCALCULATION_DISABLE;
  hspi1.Init.CRCPolynomial = 7;
  hspi1.Init.CRCLength = SPI_CRC_LENGTH_DATASIZE;
  hspi1.Init.NSSPMode = SPI_NSS_PULSE_DISABLE;
  if (HAL_SPI_Init(&hspi1) != HAL_OK)
  {
    _Error_Handler(__FILE__, __LINE__);
  }

}

/* TIM2 init function */
static void MX_TIM2_Init(void)
{

  TIM_ClockConfigTypeDef sClockSourceConfig;
  TIM_MasterConfigTypeDef sMasterConfig;

  htim2.Instance = TIM2;
  htim2.Init.Prescaler = 63;
  htim2.Init.CounterMode = TIM_COUNTERMODE_UP;
  htim2.Init.Period = 4294967295;
  htim2.Init.ClockDivision = TIM_CLOCKDIVISION_DIV1;
  htim2.Init.AutoReloadPreload = TIM_AUTORELOAD_PRELOAD_DISABLE;
  if (HAL_TIM_Base_Init(&htim2) != HAL_OK)
  {
    _Error_Handler(__FILE__, __LINE__);
  }

  sClockSourceConfig.ClockSource = TIM_CLOCKSOURCE_INTERNAL;
  if (HAL_TIM_ConfigClockSource(&htim2, &sClockSourceConfig) != HAL_OK)
  {
    _Error_Handler(__FILE__, __LINE__);
  }

  sMasterConfig.MasterOutputTrigger = TIM_TRGO_RESET;
  sMasterConfig.MasterSlaveMode = TIM_MASTERSLAVEMODE_DISABLE;
  if (HAL_TIMEx_MasterConfigSynchronization(&htim2, &sMasterConfig) != HAL_OK)
  {
    _Error_Handler(__FILE__, __LINE__);
  }

}

/* USART1 init function */
static void MX_USART1_UART_Init(void)
{

  huart1.Instance = USART1;
  huart1.Init.BaudRate = 115200;
  huart1.Init.WordLength = UART_WORDLENGTH_8B;
  huart1.Init.StopBits = UART_STOPBITS_1;
  huart1.Init.Parity = UART_PARITY_NONE;
  huart1.Init.Mode = UART_MODE_TX;
  huart1.Init.HwFlowCtl = UART_HWCONTROL_NONE;
  huart1.Init.OverSampling = UART_OVERSAMPLING_16;
  huart1.Init.OneBitSampling = UART_ONE_BIT_SAMPLE_DISABLE;
  huart1.AdvancedInit.AdvFeatureInit = UART_ADVFEATURE_NO_INIT;
  if (HAL_HalfDuplex_Init(&huart1) != HAL_OK)
  {
    _Error_Handler(__FILE__, __LINE__);
  }

}

/** Configure pins as
        * Analog
        * Input
        * Output
        * EVENT_OUT
        * EXTI
*/
static void MX_GPIO_Init(void)
{

  GPIO_InitTypeDef GPIO_InitStruct;

  /* GPIO Ports Clock Enable */
  __HAL_RCC_GPIOF_CLK_ENABLE();
  __HAL_RCC_GPIOA_CLK_ENABLE();
  __HAL_RCC_GPIOB_CLK_ENABLE();

  /*Configure GPIO pin Output Level */
  HAL_GPIO_WritePin(SLAVE_REQ_GPIO_Port, SLAVE_REQ_Pin, GPIO_PIN_RESET);

  /*Configure GPIO pin Output Level */
  HAL_GPIO_WritePin(GPIOA, JS_PB0_Pin|JS_PB1_Pin|W_Pin|KB_BREAK_Pin, GPIO_PIN_SET);

  /*Configure GPIO pin Output Level */
  HAL_GPIO_WritePin(KB_CA2_GPIO_Port, KB_CA2_Pin, GPIO_PIN_RESET);

  /*Configure GPIO pin Output Level */
  HAL_GPIO_WritePin(GPIOA, DEBUG_Pin|ACT_LED_Pin, GPIO_PIN_RESET);

  /*Configure GPIO pin : SLAVE_REQ_Pin */
  GPIO_InitStruct.Pin = SLAVE_REQ_Pin;
  GPIO_InitStruct.Mode = GPIO_MODE_OUTPUT_PP;
  GPIO_InitStruct.Pull = GPIO_NOPULL;
  GPIO_InitStruct.Speed = GPIO_SPEED_FREQ_LOW;
  HAL_GPIO_Init(SLAVE_REQ_GPIO_Port, &GPIO_InitStruct);

  /*Configure GPIO pins : JS_PB0_Pin JS_PB1_Pin W_Pin KB_BREAK_Pin */
  GPIO_InitStruct.Pin = JS_PB0_Pin|JS_PB1_Pin|W_Pin|KB_BREAK_Pin;
  GPIO_InitStruct.Mode = GPIO_MODE_OUTPUT_OD;
  GPIO_InitStruct.Pull = GPIO_NOPULL;
  GPIO_InitStruct.Speed = GPIO_SPEED_FREQ_LOW;
  HAL_GPIO_Init(GPIOA, &GPIO_InitStruct);

  /*Configure GPIO pin : KB_EN_Pin */
  GPIO_InitStruct.Pin = KB_EN_Pin;
  GPIO_InitStruct.Mode = GPIO_MODE_IT_FALLING;
  GPIO_InitStruct.Pull = GPIO_NOPULL;
  HAL_GPIO_Init(KB_EN_GPIO_Port, &GPIO_InitStruct);

  /*Configure GPIO pins : KB_ROW_C_Pin KB_COL_A_Pin KB_COL_B_Pin KB_COL_C_Pin
                           KB_COL_D_Pin KB_ROW_A_Pin KB_ROW_B_Pin */
  GPIO_InitStruct.Pin = KB_ROW_C_Pin|KB_COL_A_Pin|KB_COL_B_Pin|KB_COL_C_Pin
                          |KB_COL_D_Pin|KB_ROW_A_Pin|KB_ROW_B_Pin;
  GPIO_InitStruct.Mode = GPIO_MODE_INPUT;
  GPIO_InitStruct.Pull = GPIO_NOPULL;
  HAL_GPIO_Init(GPIOB, &GPIO_InitStruct);

  /*Configure GPIO pin : KB_CA2_Pin */
  GPIO_InitStruct.Pin = KB_CA2_Pin;
  GPIO_InitStruct.Mode = GPIO_MODE_OUTPUT_OD;
  GPIO_InitStruct.Pull = GPIO_NOPULL;
  GPIO_InitStruct.Speed = GPIO_SPEED_FREQ_LOW;
  HAL_GPIO_Init(KB_CA2_GPIO_Port, &GPIO_InitStruct);

  /*Configure GPIO pins : DEBUG_Pin ACT_LED_Pin */
  GPIO_InitStruct.Pin = DEBUG_Pin|ACT_LED_Pin;
  GPIO_InitStruct.Mode = GPIO_MODE_OUTPUT_PP;
  GPIO_InitStruct.Pull = GPIO_NOPULL;
  GPIO_InitStruct.Speed = GPIO_SPEED_FREQ_LOW;
  HAL_GPIO_Init(GPIOA, &GPIO_InitStruct);

  /* EXTI interrupt init*/
  HAL_NVIC_SetPriority(EXTI2_3_IRQn, 1, 0);
  HAL_NVIC_EnableIRQ(EXTI2_3_IRQn);

}

void _Error_Handler(char *file, int line)
{
  while(1)
  {
  }
}

/************************ (C) COPYRIGHT STMicroelectronics *****END OF FILE****/
